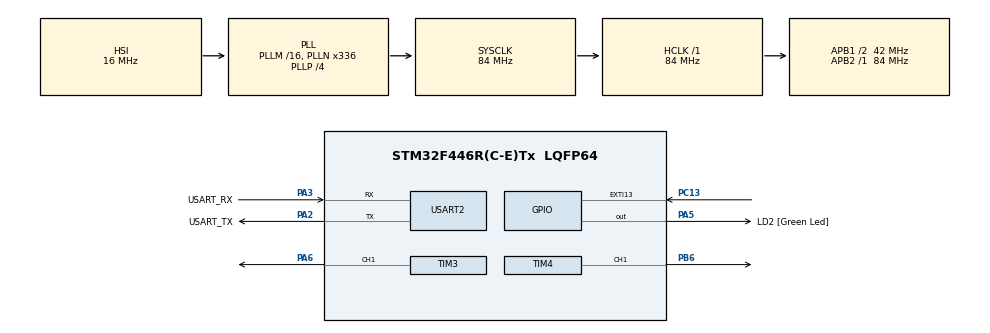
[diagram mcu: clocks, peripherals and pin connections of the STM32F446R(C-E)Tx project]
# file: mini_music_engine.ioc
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Dma.Request0=USART2_RX
Dma.USART2_RX.0.Direction=DMA_PERIPH_TO_MEMORY
Dma.USART2_RX.0.FIFOMode=DMA_FIFOMODE_DISABLE
Dma.USART2_RX.0.Instance=DMA1_Stream5
Dma.USART2_RX.0.MemDataAlignment=DMA_MDATAALIGN_BYTE
Dma.USART2_RX.0.MemInc=DMA_MINC_ENABLE
Dma.USART2_RX.0.Mode=DMA_CIRCULAR
Dma.USART2_RX.0.PeriphDataAlignment=DMA_PDATAALIGN_BYTE
Dma.USART2_RX.0.PeriphInc=DMA_PINC_DISABLE
Dma.USART2_RX.0.Priority=DMA_PRIORITY_MEDIUM
Mcu.Family=STM32F4
Mcu.Name=STM32F446R(C-E)Tx
Mcu.Package=LQFP64
NVIC.DMA1_Stream5_IRQn=true\:0\:0\:false\:false\:true\:false\:true\:true
NVIC.EXTI15_10_IRQn=true\:0\:0\:false\:false\:true\:true\:true\:true
NVIC.PriorityGroup=NVIC_PRIORITYGROUP_4
NVIC.TIM2_IRQn=true\:5\:0\:true\:false\:true\:true\:true\:true
NVIC.USART2_IRQn=true\:0\:0\:false\:false\:true\:true\:true\:true
PA13.GPIO_Label=TMS
PA13.Mode=Serial_Wire
PA13.Signal=SYS_JTMS-SWDIO
PA14.GPIO_Label=TCK
PA14.Mode=Serial_Wire
PA14.Signal=SYS_JTCK-SWCLK
PA2.GPIO_Label=USART_TX
PA2.Mode=Asynchronous
PA2.Signal=USART2_TX
PA3.GPIO_Label=USART_RX
PA3.Mode=Asynchronous
PA3.Signal=USART2_RX
PA5.GPIO_Label=LD2 [Green Led]
PA5.Signal=GPIO_Output
PA6.Signal=S_TIM3_CH1
PB3.GPIO_Label=SWO
PB3.Signal=SYS_JTDO-SWO
PB6.GPIO_ModeDefaultPP=GPIO_MODE_AF_PP
PB6.Signal=S_TIM4_CH1
PC13.GPIO_ModeDefaultEXTI=GPIO_MODE_IT_RISING_FALLING
PC13.GPIO_PuPd=GPIO_PULLUP
PC13.Signal=GPXTI13
PC14-OSC32_IN.Mode=LSE-External-Oscillator
PC14-OSC32_IN.Signal=RCC_OSC32_IN
PC15-OSC32_OUT.Mode=LSE-External-Oscillator
PC15-OSC32_OUT.Signal=RCC_OSC32_OUT
PH0-OSC_IN.Mode=HSE-External-Oscillator
PH0-OSC_IN.Signal=RCC_OSC_IN
PH1-OSC_OUT.Mode=HSE-External-Oscillator
PH1-OSC_OUT.Signal=RCC_OSC_OUT
ProjectManager.HeapSize=0x200
ProjectManager.StackSize=0x400
ProjectManager.TargetToolchain=STM32CubeIDE
RCC.48MHZClocksFreq_Value=84000000
RCC.AHBFreq_Value=84000000
RCC.APB1CLKDivider=RCC_HCLK_DIV2
RCC.APB1Freq_Value=42000000
RCC.APB1TimFreq_Value=84000000
RCC.APB2Freq_Value=84000000
RCC.APB2TimFreq_Value=84000000
RCC.CortexFreq_Value=84000000
RCC.FLatency-AdvancedSettings=FLASH_LATENCY_2
RCC.HCLKFreq_Value=84000000
RCC.HSE_VALUE=8000000
RCC.HSI_VALUE=16000000
RCC.PLLN=336
RCC.PLLP=RCC_PLLP_DIV4
RCC.SYSCLKFreq_VALUE=84000000
RCC.SYSCLKSource=RCC_SYSCLKSOURCE_PLLCLK
RCC.USBFreq_Value=168000000
RCC.VCOOutputFreq_Value=336000000
SH.S_TIM3_CH1.0=TIM3_CH1,PWM Generation1 CH1
SH.S_TIM4_CH1.0=TIM4_CH1,PWM Generation1 CH1
TIM2.Period=499
TIM2.Prescaler=83
TIM3.Channel-PWM\ Generation1\ CH1=TIM_CHANNEL_1
TIM3.Period=9999
TIM3.Prescaler=83
TIM3.Pulse-PWM\ Generation1\ CH1=250
TIM4.Channel-PWM\ Generation1\ CH1=TIM_CHANNEL_1
TIM4.Period=3359
TIM4.Prescaler=0
USART2.VirtualMode=VM_ASYNC
VP_TIM2_VS_ClockSourceINT.Mode=Internal
VP_TIM3_VS_ClockSourceINT.Mode=Internal
VP_TIM4_VS_ClockSourceINT.Mode=Internal
board=NUCLEO-F446RE

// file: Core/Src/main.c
/* USER CODE BEGIN Header */
/**
	******************************************************************************
	* @file			 : main.c
	* @brief			: Main program body
	******************************************************************************
	* @attention
	*
	* Copyright (c) 2026 STMicroelectronics.
	* All rights reserved.
	*
	* This software is licensed under terms that can be found in the LICENSE file
	* in the root directory of this software component.
	* If no LICENSE file comes with this software, it is provided AS-IS.
	*
	******************************************************************************
	*/
/* USER CODE END Header */
#include "main.h"
#include "app/song_storage.h"
#include "dma.h"
#include "tim.h"
#include "usart.h"
#include "gpio.h"

/* USER CODE BEGIN Includes */
#include <stdint.h>
#include <stdbool.h>
#include <stdlib.h>
#include <string.h>

#include "../Inc/app/button.h"
#include "../Inc/app/buzzer.h"
#include "../Inc/app/uart_cli.h"
#include "../Inc/app/music_engine.h"
/* USER CODE END Includes */

/* USER CODE BEGIN PV */
Button gButton;
UartCLIController gUartCLIController;
BuzzerController gBuzzer;
MusicEngineController gMusicEngineController;
SongList gSongList;
SongStoreHeader gSongStoreHeader;

/* USER CODE END PV */

void SystemClock_Config(void);

int main(void)
{

  /* MCU Configuration--------------------------------------------------------*/

  /* Reset of all peripherals, Initializes the Flash interface and the Systick. */
  HAL_Init();

  /* Configure the system clock */
  SystemClock_Config();

  /* Initialize all configured peripherals */
  MX_GPIO_Init();
  MX_DMA_Init();
  MX_TIM3_Init();
  MX_USART2_UART_Init();
  MX_TIM2_Init();
  MX_TIM4_Init();
  /* USER CODE BEGIN 2 */

	gUartCLIController.rxBuffer = malloc(UART_RX_BUFFER_SIZE);
	if (gUartCLIController.rxBuffer == NULL) {
		Error_Handler();
	}

	Button_Init(&gButton);
	UartCLIController_Init(&gUartCLIController);
	Buzzer_Init(&gBuzzer);
	MusicEngineController_Init(&gMusicEngineController, &gBuzzer, &gSongList, &gSongStoreHeader);
	SongStoreHeader_Init(&gSongStoreHeader);
	SongList_Init(&gSongList, &gSongStoreHeader);

	HAL_TIM_Base_Start_IT(&htim2);
	HAL_UARTEx_ReceiveToIdle_DMA(&huart2, gUartCLIController.rxBuffer, UART_RX_BUFFER_SIZE);
	__HAL_DMA_DISABLE_IT(huart2.hdmarx, DMA_IT_HT);
	__HAL_DMA_DISABLE_IT(huart2.hdmarx, DMA_IT_TC);

	HAL_TIM_PWM_Start(&htim4, TIM_CHANNEL_1);
	bool ran = false;
  /* USER CODE END 2 */

  /* Infinite loop */
	while (1)
	{

    /* USER CODE BEGIN 3 */
		Uart_Update(&gUartCLIController, &gMusicEngineController.commandQueue);
		Button_Update(&gButton, &gMusicEngineController);
		MusicEngine_Update(&gMusicEngineController, &gUartCLIController);
		Buzzer_Update(&gBuzzer);
	}
  /* USER CODE END 3 */
}

void SystemClock_Config(void)
{
  RCC_OscInitTypeDef RCC_OscInitStruct = {0};
  RCC_ClkInitTypeDef RCC_ClkInitStruct = {0};

  /** Configure the main internal regulator output voltage
  */
  __HAL_RCC_PWR_CLK_ENABLE();
  __HAL_PWR_VOLTAGESCALING_CONFIG(PWR_REGULATOR_VOLTAGE_SCALE3);

  /** Initializes the RCC Oscillators according to the specified parameters
  * in the RCC_OscInitTypeDef structure.
  */
  RCC_OscInitStruct.OscillatorType = RCC_OSCILLATORTYPE_HSI;
  RCC_OscInitStruct.HSIState = RCC_HSI_ON;
  RCC_OscInitStruct.HSICalibrationValue = RCC_HSICALIBRATION_DEFAULT;
  RCC_OscInitStruct.PLL.PLLState = RCC_PLL_ON;
  RCC_OscInitStruct.PLL.PLLSource = RCC_PLLSOURCE_HSI;
  RCC_OscInitStruct.PLL.PLLM = 16;
  RCC_OscInitStruct.PLL.PLLN = 336;
  RCC_OscInitStruct.PLL.PLLP = RCC_PLLP_DIV4;
  RCC_OscInitStruct.PLL.PLLQ = 2;
  RCC_OscInitStruct.PLL.PLLR = 2;
  if (HAL_RCC_OscConfig(&RCC_OscInitStruct) != HAL_OK)
  {
    Error_Handler();
  }

  /** Initializes the CPU, AHB and APB buses clocks
  */
  RCC_ClkInitStruct.ClockType = RCC_CLOCKTYPE_HCLK|RCC_CLOCKTYPE_SYSCLK
                              |RCC_CLOCKTYPE_PCLK1|RCC_CLOCKTYPE_PCLK2;
  RCC_ClkInitStruct.SYSCLKSource = RCC_SYSCLKSOURCE_PLLCLK;
  RCC_ClkInitStruct.AHBCLKDivider = RCC_SYSCLK_DIV1;
  RCC_ClkInitStruct.APB1CLKDivider = RCC_HCLK_DIV2;
  RCC_ClkInitStruct.APB2CLKDivider = RCC_HCLK_DIV1;

  if (HAL_RCC_ClockConfig(&RCC_ClkInitStruct, FLASH_LATENCY_2) != HAL_OK)
  {
    Error_Handler();
  }
}

/* USER CODE BEGIN 4 */
void HAL_GPIO_EXTI_Callback(uint16_t GPIO_Pin) {
	if (GPIO_Pin != GPIO_PIN_13) return;

	uint32_t now = HAL_GetTick();

	if (now - gButton.changedAt < DEBOUNCE_TIME) return;

	uint8_t state = (HAL_GPIO_ReadPin(GPIOC, GPIO_Pin) == GPIO_PIN_RESET);
	gButton.changedAt = now;

	if (state && !gButton.isDown) {
		gButton.isDown = 1;
		if (gButton.pressedCount < 255) gButton.pressedCount++;
		gButton.pressedAt = now;
	}
	else if (!state && gButton.isDown) {
		gButton.isDown = 0;
		if (gButton.releasedCount < 255) gButton.releasedCount++;
		gButton.releasedAt = now;
	}
}

void HAL_TIM_PeriodElapsedCallback(TIM_HandleTypeDef* htim) {
	if (htim->Instance != TIM2) return;
	if (gMusicEngineController.pbState != Playing) return;

	if (gMusicEngineController.remainingTimeMs != 0) {
		gMusicEngineController.remainingTimeMs -= 1;

		if (gMusicEngineController.remainingTimeMs == 0) gMusicEngineController.updateFrame = true;
	}
}

void HAL_UARTEx_RxEventCallback(UART_HandleTypeDef* huart2, uint16_t size) {
	if (huart2->Instance != USART2) return;
	if (HAL_UARTEx_GetRxEventType(huart2) != HAL_UART_RXEVENT_IDLE) return;

	gUartCLIController.currPos = size;
}

/* USER CODE END 4 */

void Error_Handler(void)
{
	__disable_irq();
	while (1)
	{
	}
}
